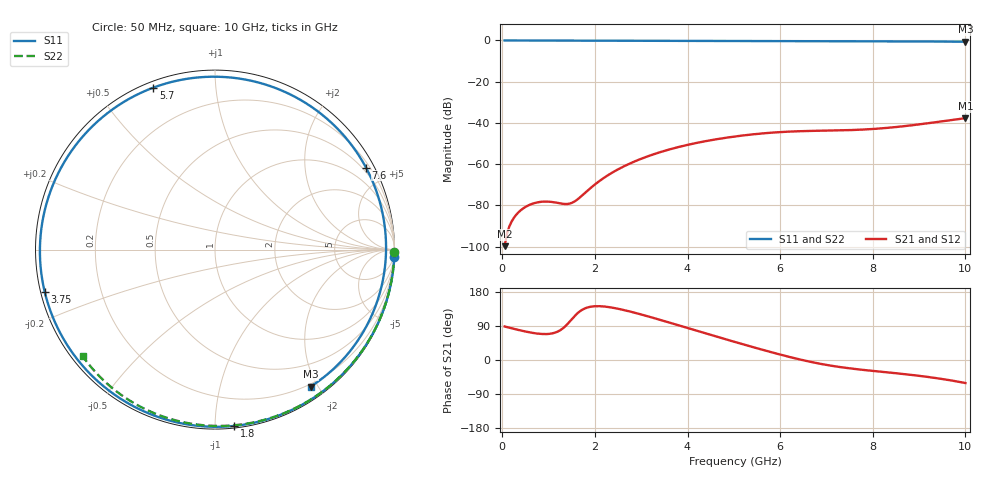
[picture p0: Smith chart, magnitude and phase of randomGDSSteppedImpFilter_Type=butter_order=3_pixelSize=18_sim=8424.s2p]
! freq	dB(S11)	phase(S11)	dB(S12)	phase(S12)
!  dB(S21)	phase(S21)	dB(S22)	phase(S22)
!S-par simulation data
#  GHz  S  DB  R 50
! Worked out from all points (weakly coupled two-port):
!   200 points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, 50 MHz to 10 GHz, reference 50 ohm
!   highest |S21| = -37.71 dB at 10 GHz (marker M1); lowest = -99.8 dB at 50 MHz (marker M2)
!   lowest |S11| = -0.6 dB at 10 GHz (marker M3), VSWR 27.79, Z = 8.37 - j95.2 ohm
!   |S11| at or under -10 dB: nowhere
!   |S22| runs from -0.5 to 0.0 dB; largest |S21 - S12| = 0
!   S11 on the Smith chart (normalised r, x): 50 MHz: 0, -47; 1.8 GHz: 0.01, -1.12; 3.75 GHz: 0.01, -0.12; 5.7 GHz: 0.03, +0.69; 7.6 GHz: 0.36, +3.91; 10 GHz: 0.17, -1.90
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0.05  -0.00 -2.4  -99.81 88.4  -99.81 88.4  -0.00 -0.8
0.65  -0.04 -31.0  -79.23 71.7  -79.23 71.7  -0.01 -10.6
0.95  -0.06 -45.1  -78.16 68.5  -78.16 68.5  -0.02 -15.4
1.4  -0.08 -65.8  -79.35 93.9  -79.35 93.9  -0.03 -22.6
1.55  -0.09 -72.6  -78.26 114.4  -78.26 114.4  -0.03 -25.0
1.75  -0.10 -81.5  -74.70 134.1  -74.70 134.1  -0.04 -28.2
1.8  -0.10 -83.7  -73.69 136.9  -73.69 136.9  -0.04 -29.0
2.15  -0.12 -99.0  -67.35 141.7  -67.35 141.7  -0.04 -34.5
2.55  -0.14 -116.1  -61.94 133.9  -61.94 133.9  -0.05 -40.7
3  -0.16 -135.0  -57.39 120.1  -57.39 120.1  -0.06 -47.6
3.4  -0.18 -151.7  -54.26 106.2  -54.26 106.2  -0.07 -53.6
3.75  -0.20 -166.1  -52.02 93.6  -52.02 93.6  -0.08 -58.8
4.4  -0.23 166.8  -48.81 69.9  -48.81 69.9  -0.10 -68.3
5.05  -0.27 139.1  -46.51 46.7  -46.51 46.7  -0.12 -77.4
5.7  -0.30 110.8  -44.95 24.2  -44.95 24.2  -0.14 -86.4
6.2  -0.33 88.8  -44.22 8.1  -44.22 8.1  -0.17 -93.1
6.7  -0.35 66.7  -43.87 -6.0  -43.87 -6.0  -0.19 -99.7
7.15  -0.36 47.3  -43.69 -16.0  -43.69 -16.0  -0.22 -105.5
7.6  -0.38 28.5  -43.42 -23.5  -43.42 -23.5  -0.25 -111.2
8.35  -0.42 -0.8  -42.34 -33.1  -42.34 -33.1  -0.31 -120.7
9.05  -0.48 -25.5  -40.58 -42.5  -40.58 -42.5  -0.37 -129.3
10  -0.63 -55.1  -37.71 -60.8  -37.71 -60.8  -0.47 -141.0
